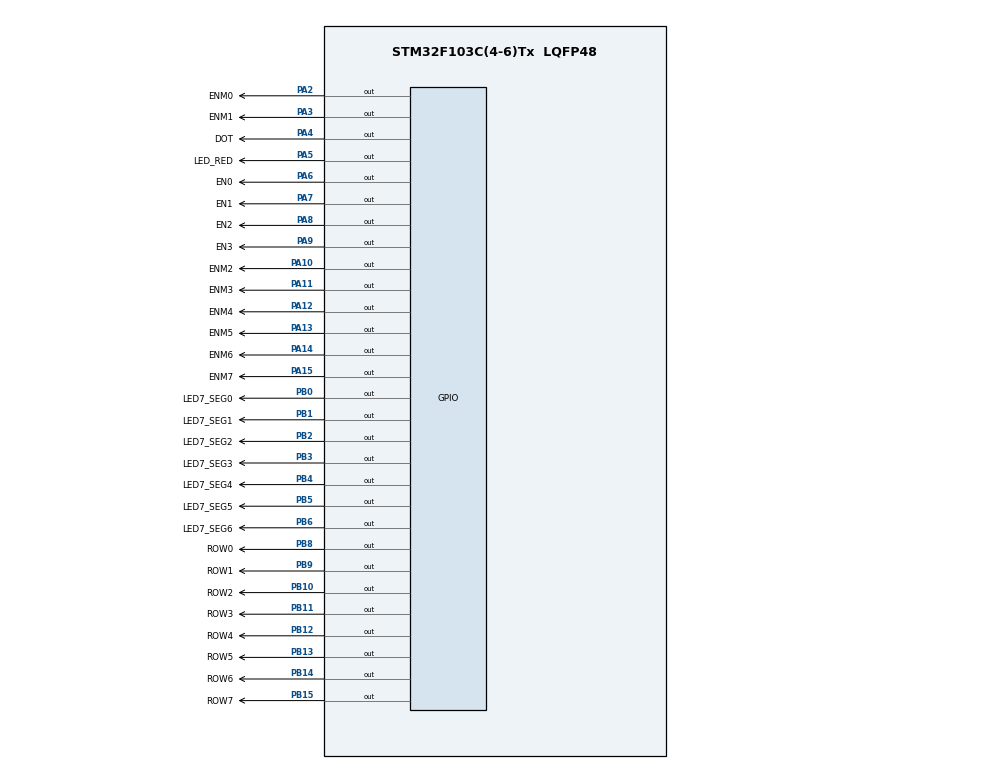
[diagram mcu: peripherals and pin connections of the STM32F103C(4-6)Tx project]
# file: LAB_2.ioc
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Mcu.Family=STM32F1
Mcu.Name=STM32F103C(4-6)Tx
Mcu.Package=LQFP48
NVIC.PriorityGroup=NVIC_PRIORITYGROUP_4
NVIC.TIM2_IRQn=true\:0\:0\:false\:false\:true\:true\:true\:true
PA10.GPIO_Label=ENM2
PA10.Signal=GPIO_Output
PA11.GPIO_Label=ENM3
PA11.Signal=GPIO_Output
PA12.GPIO_Label=ENM4
PA12.Signal=GPIO_Output
PA13.GPIO_Label=ENM5
PA13.Signal=GPIO_Output
PA14.GPIO_Label=ENM6
PA14.Signal=GPIO_Output
PA15.GPIO_Label=ENM7
PA15.Signal=GPIO_Output
PA2.GPIO_Label=ENM0
PA2.Signal=GPIO_Output
PA3.GPIO_Label=ENM1
PA3.Signal=GPIO_Output
PA4.GPIO_Label=DOT
PA4.Signal=GPIO_Output
PA5.GPIO_Label=LED_RED
PA5.Signal=GPIO_Output
PA6.GPIO_Label=EN0
PA6.Signal=GPIO_Output
PA7.GPIO_Label=EN1
PA7.Signal=GPIO_Output
PA8.GPIO_Label=EN2
PA8.Signal=GPIO_Output
PA9.GPIO_Label=EN3
PA9.Signal=GPIO_Output
PB0.GPIO_Label=LED7_SEG0
PB0.Signal=GPIO_Output
PB1.GPIO_Label=LED7_SEG1
PB1.Signal=GPIO_Output
PB10.GPIO_Label=ROW2
PB10.Signal=GPIO_Output
PB11.GPIO_Label=ROW3
PB11.Signal=GPIO_Output
PB12.GPIO_Label=ROW4
PB12.Signal=GPIO_Output
PB13.GPIO_Label=ROW5
PB13.Signal=GPIO_Output
PB14.GPIO_Label=ROW6
PB14.Signal=GPIO_Output
PB15.GPIO_Label=ROW7
PB15.Signal=GPIO_Output
PB2.GPIO_Label=LED7_SEG2
PB2.Signal=GPIO_Output
PB3.GPIO_Label=LED7_SEG3
PB3.Signal=GPIO_Output
PB4.GPIO_Label=LED7_SEG4
PB4.Signal=GPIO_Output
PB5.GPIO_Label=LED7_SEG5
PB5.Signal=GPIO_Output
PB6.GPIO_Label=LED7_SEG6
PB6.Signal=GPIO_Output
PB8.GPIO_Label=ROW0
PB8.Signal=GPIO_Output
PB9.GPIO_Label=ROW1
PB9.Signal=GPIO_Output
ProjectManager.HeapSize=0x200
ProjectManager.StackSize=0x400
ProjectManager.TargetToolchain=STM32CubeIDE
RCC.APB1Freq_Value=8000000
RCC.APB2Freq_Value=8000000
TIM2.Period=9
TIM2.Prescaler=7999
VP_SYS_VS_ND.Mode=No_Debug
VP_TIM2_VS_ClockSourceINT.Mode=Internal
board=custom

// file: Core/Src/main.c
/* USER CODE BEGIN Header */
/**
 ******************************************************************************
 * @file           : main.c
 * @brief          : Main program body
 ******************************************************************************
 * @attention
 *
 * Copyright (c) 2025 STMicroelectronics.
 * All rights reserved.
 *
 * This software is licensed under terms that can be found in the LICENSE file
 * in the root directory of this software component.
 * If no LICENSE file comes with this software, it is provided AS-IS.
 *
 ******************************************************************************
 */
/* USER CODE END Header */
#include "main.h"

/* USER CODE BEGIN Includes */
#include "led_7seg.h"
#include "software_timer.h"
#include "led_matrix.h"
/* USER CODE END Includes */

TIM_HandleTypeDef htim2;

void SystemClock_Config(void);
static void MX_GPIO_Init(void);
static void MX_TIM2_Init(void);

/* USER CODE BEGIN 0 */
const int MAX_LED = 4;
int index_led = 0;
/* USER CODE END 0 */

int main(void)
{

  /* MCU Configuration--------------------------------------------------------*/

  /* Reset of all peripherals, Initializes the Flash interface and the Systick. */
  HAL_Init();

  /* Configure the system clock */
  SystemClock_Config();

  /* Initialize all configured peripherals */
  MX_GPIO_Init();
  MX_TIM2_Init();
  /* USER CODE BEGIN 2 */
	HAL_TIM_Base_Start_IT(&htim2);
	// khởi tạo software timer
	setTimer0(1000);  // Timer cho đồng hồ (1 giây)
	setTimer1(1000);  // Timer cho DOT (1 giây)
	setTimer2_LED(250); //timer cho led (10ms)
	setTimer3(10);
	setTimer5(2000);

	setMatrixChar(CHAR_A);
  /* USER CODE END 2 */

  /* Infinite loop */
  /* USER CODE BEGIN WHILE */
	while (1) {
		//Clock
		if (timer0_flag == 1) {

			second++;
			if (second >= 60) {
				second = 0;
				minute++;
			}
			if (minute >= 60) {
				minute = 0;
				hour++;
			}
			if (hour >= 24) {
				hour = 0;
			}
			updateClockBuffer();
			timer0_flag=0;
			setTimer0(1000);
		}

		// Toggle DOT
		if (timer1_flag == 1) {
			HAL_GPIO_TogglePin(GPIOA, DOT_Pin);
			timer1_flag = 0;
			setTimer1(1000);
		}

		// led 7 doan
		if (timer2_flag_LED == 1) {
			index_led++;
			if (index_led >= MAX_LED) {
				index_led = 0;
			}
			update7SEG(index_led);
			timer2_flag_LED = 0;
			setTimer2_LED(250);
		}

		// LED MATRIX
		if (timer3_flag_LedMatrix == 1) {
			index_led_matrix++;
			if (index_led_matrix >= 8)
				index_led_matrix = 0;
			updateLEDMatrix(index_led_matrix);
			timer3_flag_LedMatrix = 0;
			setTimer3(10);
		}

		//LED_RED
		if (timer5_flag == 1) {
			HAL_GPIO_TogglePin( LED_RED_GPIO_Port, LED_RED_Pin);
			timer5_flag = 0;
			setTimer5(2000);
		}

    /* USER CODE END WHILE */

	}
}

void SystemClock_Config(void)
{
  RCC_OscInitTypeDef RCC_OscInitStruct = {0};
  RCC_ClkInitTypeDef RCC_ClkInitStruct = {0};

  /** Initializes the RCC Oscillators according to the specified parameters
  * in the RCC_OscInitTypeDef structure.
  */
  RCC_OscInitStruct.OscillatorType = RCC_OSCILLATORTYPE_HSI;
  RCC_OscInitStruct.HSIState = RCC_HSI_ON;
  RCC_OscInitStruct.HSICalibrationValue = RCC_HSICALIBRATION_DEFAULT;
  RCC_OscInitStruct.PLL.PLLState = RCC_PLL_NONE;
  if (HAL_RCC_OscConfig(&RCC_OscInitStruct) != HAL_OK)
  {
    Error_Handler();
  }

  /** Initializes the CPU, AHB and APB buses clocks
  */
  RCC_ClkInitStruct.ClockType = RCC_CLOCKTYPE_HCLK|RCC_CLOCKTYPE_SYSCLK
                              |RCC_CLOCKTYPE_PCLK1|RCC_CLOCKTYPE_PCLK2;
  RCC_ClkInitStruct.SYSCLKSource = RCC_SYSCLKSOURCE_HSI;
  RCC_ClkInitStruct.AHBCLKDivider = RCC_SYSCLK_DIV1;
  RCC_ClkInitStruct.APB1CLKDivider = RCC_HCLK_DIV1;
  RCC_ClkInitStruct.APB2CLKDivider = RCC_HCLK_DIV1;

  if (HAL_RCC_ClockConfig(&RCC_ClkInitStruct, FLASH_LATENCY_0) != HAL_OK)
  {
    Error_Handler();
  }
}

static void MX_TIM2_Init(void)
{

  TIM_ClockConfigTypeDef sClockSourceConfig = {0};
  TIM_MasterConfigTypeDef sMasterConfig = {0};

  htim2.Instance = TIM2;
  htim2.Init.Prescaler = 7999;
  htim2.Init.CounterMode = TIM_COUNTERMODE_UP;
  htim2.Init.Period = 9;
  htim2.Init.ClockDivision = TIM_CLOCKDIVISION_DIV1;
  htim2.Init.AutoReloadPreload = TIM_AUTORELOAD_PRELOAD_DISABLE;
  if (HAL_TIM_Base_Init(&htim2) != HAL_OK)
  {
    Error_Handler();
  }
  sClockSourceConfig.ClockSource = TIM_CLOCKSOURCE_INTERNAL;
  if (HAL_TIM_ConfigClockSource(&htim2, &sClockSourceConfig) != HAL_OK)
  {
    Error_Handler();
  }
  sMasterConfig.MasterOutputTrigger = TIM_TRGO_RESET;
  sMasterConfig.MasterSlaveMode = TIM_MASTERSLAVEMODE_DISABLE;
  if (HAL_TIMEx_MasterConfigSynchronization(&htim2, &sMasterConfig) != HAL_OK)
  {
    Error_Handler();
  }

}

static void MX_GPIO_Init(void)
{
  GPIO_InitTypeDef GPIO_InitStruct = {0};

  /* GPIO Ports Clock Enable */
  __HAL_RCC_GPIOA_CLK_ENABLE();
  __HAL_RCC_GPIOB_CLK_ENABLE();

  /*Configure GPIO pin Output Level */
  HAL_GPIO_WritePin(GPIOA, ENM0_Pin|ENM1_Pin|DOT_Pin|LED_RED_Pin
                          |EN0_Pin|EN1_Pin|EN2_Pin|EN3_Pin
                          |ENM2_Pin|ENM3_Pin|ENM4_Pin|ENM5_Pin
                          |ENM6_Pin|ENM7_Pin, GPIO_PIN_RESET);

  /*Configure GPIO pin Output Level */
  HAL_GPIO_WritePin(GPIOB, LED7_SEG0_Pin|LED7_SEG1_Pin|LED7_SEG2_Pin|ROW2_Pin
                          |ROW3_Pin|ROW4_Pin|ROW5_Pin|ROW6_Pin
                          |ROW7_Pin|LED7_SEG3_Pin|LED7_SEG4_Pin|LED7_SEG5_Pin
                          |LED7_SEG6_Pin|ROW0_Pin|ROW1_Pin, GPIO_PIN_RESET);

  /*Configure GPIO pins : ENM0_Pin ENM1_Pin DOT_Pin LED_RED_Pin
                           EN0_Pin EN1_Pin EN2_Pin EN3_Pin
                           ENM2_Pin ENM3_Pin ENM4_Pin ENM5_Pin
                           ENM6_Pin ENM7_Pin */
  GPIO_InitStruct.Pin = ENM0_Pin|ENM1_Pin|DOT_Pin|LED_RED_Pin
                          |EN0_Pin|EN1_Pin|EN2_Pin|EN3_Pin
                          |ENM2_Pin|ENM3_Pin|ENM4_Pin|ENM5_Pin
                          |ENM6_Pin|ENM7_Pin;
  GPIO_InitStruct.Mode = GPIO_MODE_OUTPUT_PP;
  GPIO_InitStruct.Pull = GPIO_NOPULL;
  GPIO_InitStruct.Speed = GPIO_SPEED_FREQ_LOW;
  HAL_GPIO_Init(GPIOA, &GPIO_InitStruct);

  /*Configure GPIO pins : LED7_SEG0_Pin LED7_SEG1_Pin LED7_SEG2_Pin ROW2_Pin
                           ROW3_Pin ROW4_Pin ROW5_Pin ROW6_Pin
                           ROW7_Pin LED7_SEG3_Pin LED7_SEG4_Pin LED7_SEG5_Pin
                           LED7_SEG6_Pin ROW0_Pin ROW1_Pin */
  GPIO_InitStruct.Pin = LED7_SEG0_Pin|LED7_SEG1_Pin|LED7_SEG2_Pin|ROW2_Pin
                          |ROW3_Pin|ROW4_Pin|ROW5_Pin|ROW6_Pin
                          |ROW7_Pin|LED7_SEG3_Pin|LED7_SEG4_Pin|LED7_SEG5_Pin
                          |LED7_SEG6_Pin|ROW0_Pin|ROW1_Pin;
  GPIO_InitStruct.Mode = GPIO_MODE_OUTPUT_PP;
  GPIO_InitStruct.Pull = GPIO_NOPULL;
  GPIO_InitStruct.Speed = GPIO_SPEED_FREQ_LOW;
  HAL_GPIO_Init(GPIOB, &GPIO_InitStruct);

}

/* USER CODE BEGIN 4 */

void HAL_TIM_PeriodElapsedCallback(TIM_HandleTypeDef *htim) {
    if (htim == &htim2) {
        timer_run();
    }

}

/* USER CODE END 4 */

void Error_Handler(void)
{
	__disable_irq();
	while (1) {
	}
}
